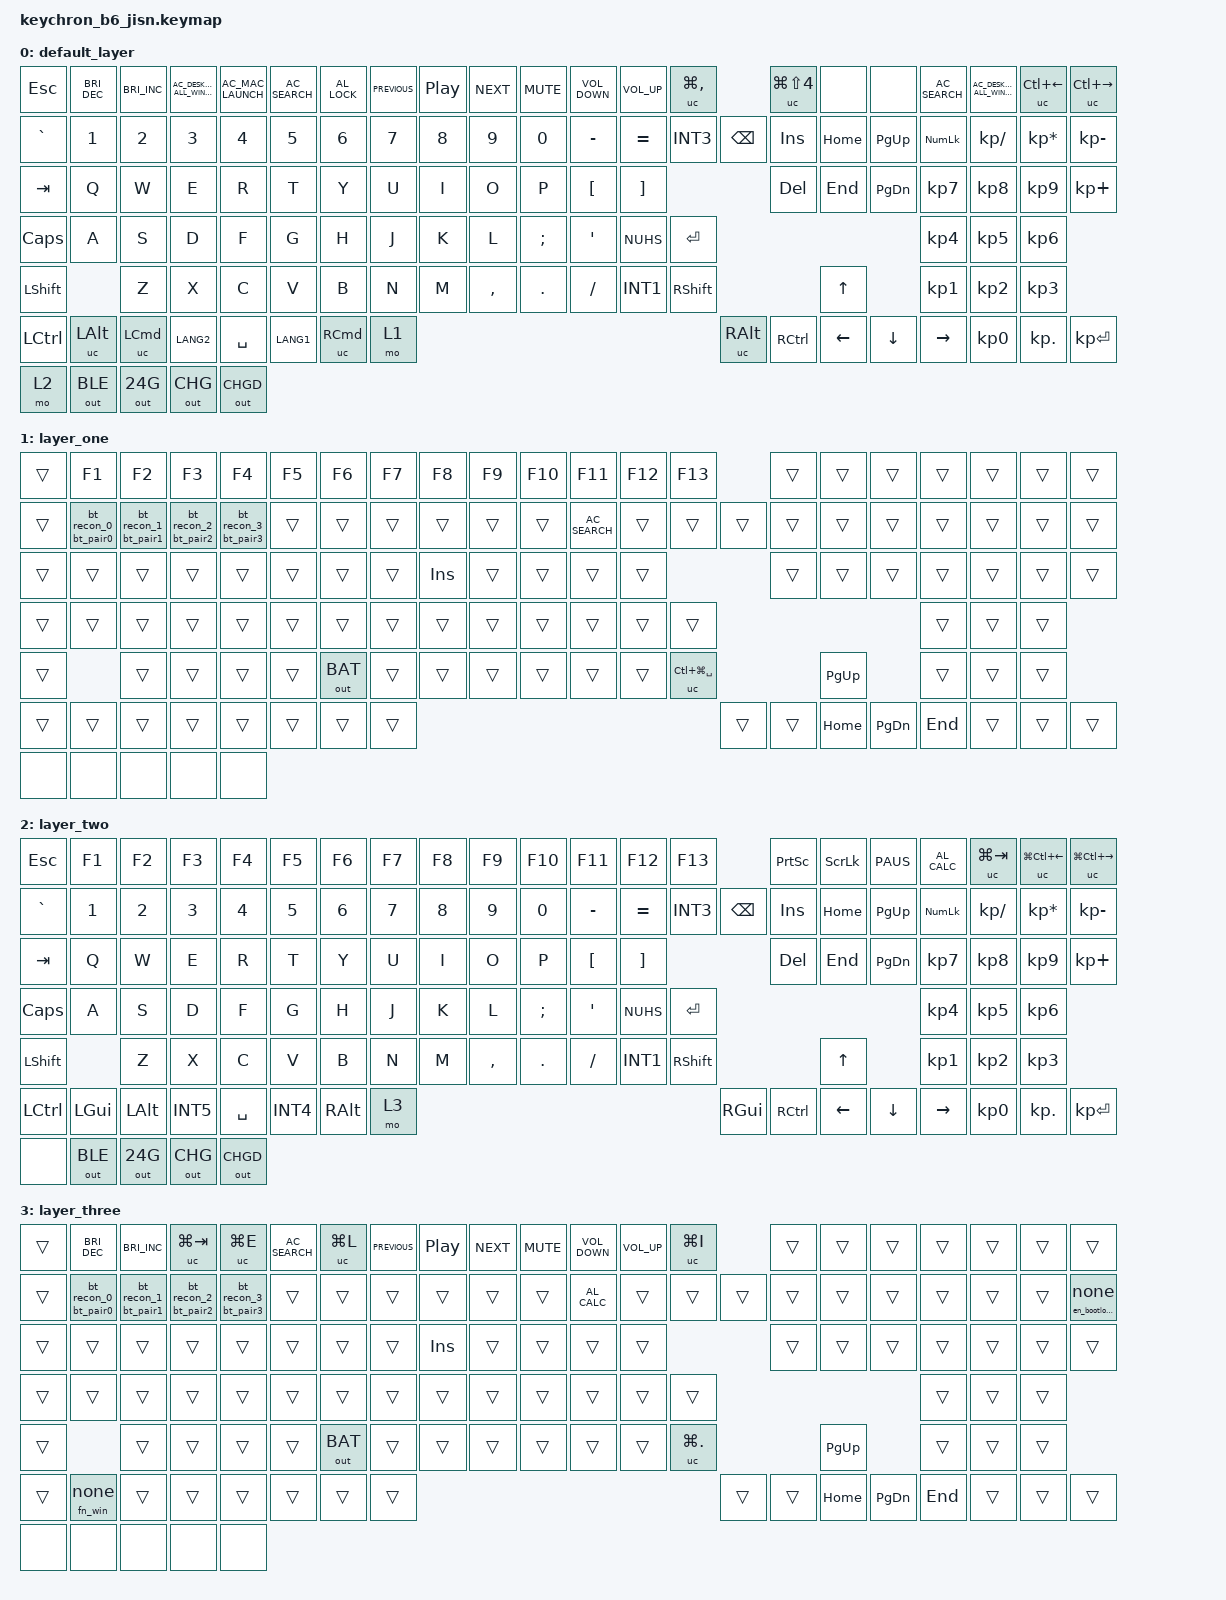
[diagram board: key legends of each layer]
/*
 * Copyright (c) 2023 The ZMK Contributors
 *
 * SPDX-License-Identifier: MIT
 */

#include <behaviors.dtsi>
#include <dt-bindings/zmk/keys.h>
#include <dt-bindings/zmk/rgb.h>
#include <dt-bindings/zmk/bt.h>
#include <dt-bindings/zmk/outputs.h>
// &main_encoder {
//     status = "okay";
// };

/ {
    ZMK_MACRO(recover, bindings = <&out OUT_RECOVER>;)
    ZMK_MACRO(change, bindings = <&out OUT_FN>;)
    ZMK_MACRO(fn_win, bindings = <&out OUT_FN_WIN>;)

    ZMK_MACRO(en_bootloader, bindings = <&bootloader>;)
    ZMK_MACRO1(MA,bindings=<&kp 0x770000>;)

    long_press_recover:l1 {
        compatible = "zmk,behavior-hold-tap";
        label = "l1";
        #binding-cells = <2>;
        flavor = "tap-preferred";
        tapping-term-ms = <3000>;  // delay amount in ms
        bindings = <&recover>, <&none>;
    };

    long_press_change:l2{
        compatible = "zmk,behavior-hold-tap";
        label = "lp_change";
        #binding-cells = <2>;
        flavor = "tap-preferred";
        tapping-term-ms = <3000>;  // delay amount in ms
        bindings = <&change>, <&none>;
    };
    long_press_bootloader:l3{
        compatible = "zmk,behavior-hold-tap";
        label = "lp_bootloader";
        #binding-cells = <2>;
        flavor = "tap-preferred";
        tapping-term-ms = <3000>;  // delay amount in ms
        bindings = <&en_bootloader>, <&none>;
    };
    long_press_fn_win:l4{
        compatible = "zmk,behavior-hold-tap";
        label = "lp_fn_win";
        #binding-cells = <2>;
        flavor = "tap-preferred";
        tapping-term-ms = <3000>;   
        bindings = <&fn_win>, <&none>;
    };
   
    //fn = 95+7 -1
    //j  = 63+8 -1
    //z  = 79+2 -1
    //x  = 79+3 -1
    //l  = 63+10 -1
    combos1 {
        compatible = "zmk,combos";
        combo_jz {
            timeout-ms = <1000>;
            layers = <1 3>;
            key-positions = <70 81>; //fn+j+z
            bindings = <&long_press_recover 0 0>;
        };
        combo_xl {
            timeout-ms = <1000>;
            layers =< 1 3>;
            key-positions = <82 72>; //fn+x+l
            bindings = <&long_press_change 0 0>;
        };
/*        
        combo_b {
            timeout-ms = <1000>;
            layers =< 1 3>;
            //slow-release = <true>;
            key-positions = <85>; //fn+b
            bindings = <&out OUT_BAT>;
        };

        combo_win_l {
            timeout-ms = <1000>;
            layers =< 1 3>;
            //slow-release = <true>;
            key-positions = <98>; //fn+win
            bindings = <&long_press_fn_win 0 0>;
        };
        combo_win_r {
            timeout-ms = <1000>;
            layers =< 1 3>;
            //slow-release = <true>;
            key-positions = <106>; //fn+win
            bindings = <&long_press_fn_win 0 0>;
        };
*/        
        combo_t0 {
            timeout-ms = <10 >;
            layers =<4>;
          
            key-positions = <80 90>;  
            bindings = <&to 3 >;
        };
        combo_t1 {
            timeout-ms = <10 >;
            layers =<4>;
          
            key-positions = <80 91>;  
            bindings = <&tog 3 >;
        };
        combo_t2 {
            timeout-ms = <10 >;
            layers =<4>;
          
            key-positions = <80 92>;  
            bindings = <&sl 3 >;
        };
        combo_t3 {
            timeout-ms = <10 >;
            layers =<4>;
          
            key-positions = <70 93>;  
            bindings = <&lt 3 SPACE>;
        };
        combo_t4 {
            timeout-ms = <10 >;
            layers =<4>;
          
            key-positions = <81 94>;  
            bindings = <&sk LSHIFT>;
        };
        combo_t5 {
            timeout-ms = <10 >;
            layers =<4>;
          
            key-positions = <81 93>;  
            bindings = <&mt LSHIFT SPACE>;
        };
        combo_t6 {
            timeout-ms = <10 >;
            layers =<4>;
          
            key-positions = <81 93>;  
            bindings = <&gresc>;
        };
    };

    td0 {
        compatible = "zmk,behavior-tap-dance";
        label = "TAPD_LAYER";
        #binding-cells = <1>;
        tapping-term-ms = <350>;
        bindings =<&mo 0>,<&mo 0>,<&mo 0>,<&mo 0>,<&to 0>;
    };
    ZMK_MACRO(bt_pair0, bindings = <&bt BT_PAIR 0>;)
    ZMK_MACRO(bt_pair1, bindings = <&bt BT_PAIR 1>;)
    ZMK_MACRO(bt_pair2, bindings = <&bt BT_PAIR 2>;)
    ZMK_MACRO(bt_pair3, bindings = <&bt BT_PAIR 3>;)
    ZMK_MACRO(bt_recon_0, bindings = <&bt BT_SEL 0>;)
    ZMK_MACRO(bt_recon_1, bindings = <&bt BT_SEL 1>;)
    ZMK_MACRO(bt_recon_2, bindings = <&bt BT_SEL 2>;)
    ZMK_MACRO(bt_recon_3, bindings = <&bt BT_SEL 3>;)
    

    // hold-tap that doesn't do anything on tap and BT_CLR on hold
    bt_pair_0: bt_pair_0 {
        compatible = "zmk,behavior-hold-tap";
        label = "bt_pair0";
        #binding-cells = <2>;
        flavor = "tap-preferred";
        tapping-term-ms = <3000>;  // delay amount in ms
        bindings = <&bt_pair0>, <&bt_recon_0>;
    };
    bt_pair_1: bt_pair_1 {
        compatible = "zmk,behavior-hold-tap";
        label = "bt_pair1";
        #binding-cells = <2>;
        flavor = "tap-preferred";
        tapping-term-ms = <3000>;  // delay amount in ms
        bindings = <&bt_pair1>, <&bt_recon_1>;
    };
    bt_pair_2: bt_pair_2 {
        compatible = "zmk,behavior-hold-tap";
        label = "bt_pair2";
        #binding-cells = <2>;
        flavor = "tap-preferred";
        tapping-term-ms = <3000>;  // delay amount in ms
        bindings = <&bt_pair2>, <&bt_recon_2>;
    };
    bt_pair_3: bt_pair_3 {
        compatible = "zmk,behavior-hold-tap";
        label = "bt_pair3";
        #binding-cells = <2>;
        flavor = "tap-preferred";
        tapping-term-ms = <3000>;  // delay amount in ms
        bindings = <&bt_pair3>, <&bt_recon_3>;
    };
    uc:user_custom {
        compatible = "zmk,behavior-key-press";
        label ="user_custom";
        #binding-cells =<1>;
    };
	keymap {
    	compatible = "zmk,keymap";
            //mac
        default_layer {
        bindings = <
                        //f1                    //f2                //f3                                    //f4                //f5                //f6            //f7            //f8            //f9        //f10       //f11               //f12               //f13                                                                   //f14                   //f15                            //f16               //f17
    &kp ESC     &kp C_BRIGHTNESS_DEC    &kp C_BRIGHTNESS_INC    &kp C_AC_DESKTOP_SHOW_ALL_WINDOWS   &kp  C_AC_MAC_LAUNCH    &kp C_AC_SEARCH     &kp C_AL_LOCK   &kp C_PREVIOUS  &kp C_PLAY_PAUSE    &kp C_NEXT  &kp C_MUTE  &kp C_VOLUME_DOWN   &kp C_VOLUME_UP     &uc LG(COMMA)               &uc LG(LS(N4))      &none       &none       &kp C_AC_SEARCH     &kp C_AC_DESKTOP_SHOW_ALL_WINDOWS       &uc LC(LEFT)        &uc LC(RIGHT) 
    &kp GRAVE   &kp N1                  &kp N2                  &kp N3                              &kp N4                  &kp N5              &kp N6          &kp N7          &kp N8              &kp N9      &kp N0      &kp MINUS           &kp EQUAL           &kp INT3       &kp BSPC     &kp INS             &kp HOME    &kp PG_UP   &kp KP_NLCK         &kp KP_SLASH                            &kp KP_ASTERISK     &kp KP_MINUS            
    &kp TAB     &kp Q                   &kp W                   &kp E                               &kp R                   &kp T               &kp Y           &kp U           &kp I               &kp O       &kp P       &kp LBKT            &kp RBKT                                        &kp DEL             &kp END     &kp PG_DN   &kp KP_N7           &kp KP_N8                               &kp KP_N9           &kp KP_PLUS   
    &kp CLCK    &kp A                   &kp S                   &kp D                               &kp F                   &kp G               &kp H           &kp J           &kp K               &kp L       &kp SEMI    &kp SQT             &kp NUHS            &kp RET                                                                 &kp KP_N4           &kp KP_N5                               &kp KP_N6
    &kp LSHFT                           &kp Z                   &kp X                               &kp C                   &kp V               &kp B           &kp N           &kp M               &kp COMMA   &kp DOT     &kp FSLH            &kp INT1            &kp RSHFT                                       &kp UP                  &kp KP_N1           &kp KP_N2                               &kp KP_N3
    &kp LCTRL   &uc LALT                &uc LCMD                &kp LANG2       &kp SPACE                                                                                       &kp LANG1                       &uc RCMD    &mo 1               &uc RALT            &kp RCTRL                   &kp LEFT            &kp DOWN    &kp RIGHT   &kp KP_N0                                                   &kp KP_DOT          &kp KP_ENTER
    //
    &mo 2       &out OUT_BLE    &out OUT_24G    &out OUT_CHG    &out OUT_CHGD 
            >;
    };
        //mac
        layer_one  {
        bindings = < 
    &trans  &kp F1          &kp F2          &kp F3          &kp F4          &kp F5          &kp F6          &kp F7          &kp F8          &kp F9          &kp F10             &kp F11             &kp F12             &kp F13                 &trans          &trans              &trans          &trans          &trans          &trans          &trans 
    &trans  &bt_pair_0 0 0  &bt_pair_1 0 0  &bt_pair_2 0 0  &bt_pair_3 0 0  &trans          &trans          &trans          &trans          &trans          &trans              &kp C_AC_SEARCH     &trans              &trans    &trans        &trans          &trans              &trans          &trans          &trans          &trans          &trans            
    &trans  &trans          &trans          &trans          &trans          &trans          &trans          &trans          &kp INS         &trans          &trans              &trans              &trans                                      &trans          &trans              &trans          &trans          &trans          &trans          &trans   
    &trans  &trans          &trans          &trans          &trans          &trans          &trans          &trans          &trans          &trans          &trans              &trans              &trans              &trans                                                                      &trans          &trans          &trans
    &trans                  &trans          &trans          &trans          &trans          &out OUT_BAT    &trans          &trans          &trans          &trans              &trans              &trans              &uc LC(LG(SPACE))                       &kp PG_UP                           &trans          &trans          &trans
    &trans  &trans          &trans          &trans                  &trans                                                  &trans          &trans                              &trans              &trans              &trans                  &kp HOME        &kp PG_DN           &kp END         &trans                          &trans          &trans
    //
    &none   &none  &none    &none   &none
            >;
    };
    //win
    	layer_two {
 		bindings = <
    &kp ESC 	&kp F1     &kp F2 	    &kp F3 	    &kp F4 	&kp F5 	&kp F6 	&kp F7 	&kp F8 	   &kp F9 	    &kp F10 	&kp F11 	&kp F12 	&kp F13                   &kp PSCRN    &kp SLCK    &kp PAUS      &kp C_AL_CALC   &uc LG(TAB)     &uc LG(LC(LEFT))     &uc LG(LC(RIGHT))  //21
    &kp GRAVE	&kp N1     &kp N2 	    &kp N3 	    &kp N4 	&kp N5 	&kp N6 	&kp N7 	&kp N8 	   &kp N9 	    &kp N0 		&kp MINUS 	&kp EQUAL 	&kp INT3    &kp BSPC 	  &kp INS 	   &kp HOME    &kp PG_UP 	 &kp KP_NLCK 	 &kp KP_SLASH 	 &kp KP_ASTERISK      &kp KP_MINUS       //42       
    &kp TAB 	&kp Q      &kp W 	    &kp E 	    &kp R 	&kp T 	&kp Y 	&kp U 	&kp I 	   &kp O 	    &kp P 		&kp LBKT 	&kp RBKT 	         	              &kp DEL 	   &kp END 	   &kp PG_DN 	 &kp KP_N7 		 &kp KP_N8 		 &kp KP_N9            &kp KP_PLUS        //63
    &kp CLCK 	&kp A 	   &kp S 	    &kp D 	    &kp F 	&kp G 	&kp H 	&kp J 	&kp K 	   &kp L 	    &kp SEMI 	&kp SQT     &kp NUHS    &kp RET               							                 &kp KP_N4 		 &kp KP_N5 		 &kp KP_N6                               //63+21-5
    &kp LSHFT              &kp Z 	    &kp X 	    &kp C 	&kp V 	&kp B 	&kp N 	&kp M 	   &kp COMMA    &kp DOT     &kp FSLH    &kp INT1    &kp RSHFT				               &kp UP 					 &kp KP_N1 		 &kp KP_N2 		 &kp KP_N3                               //79+21-5
    &kp LCTRL 	&kp LGUI   &kp LALT     &kp INT5         &kp SPACE                  &kp INT4                &kp RALT 	&mo 3       &kp RGUI 	&kp RCTRL 	              &kp LEFT 	   &kp DOWN 	&kp RIGHT 	 &kp KP_N0 						 &kp KP_DOT  	      &kp KP_ENTER
    //
    &none       &out OUT_BLE    &out OUT_24G    &out OUT_CHG    &out OUT_CHGD 
            >;
    };
    //win
        layer_three {
        bindings = < 
                    //f1                    //f2                //f3            //f4            //f5            //f6                //f7            //f8            //f9        //f10       //f11                   //f12                 //f13                                                      //f14           //f15           //f16           //f17
    &trans  &kp C_BRIGHTNESS_DEC    &kp C_BRIGHTNESS_INC    &uc LG(TAB)     &uc LG(E)       &kp C_AC_SEARCH     &uc LG(L)       &kp C_PREVIOUS  &kp C_PLAY_PAUSE    &kp C_NEXT  &kp C_MUTE  &kp C_VOLUME_DOWN       &kp C_VOLUME_UP     &uc LG(I)               &trans       &trans      &trans      &trans          &trans          &trans          &trans
    &trans  &bt_pair_0 0 0          &bt_pair_1 0 0          &bt_pair_2 0 0  &bt_pair_3 0 0  &trans              &trans          &trans          &trans              &trans      &trans      &kp C_AL_CALC           &trans              &trans       &trans     &trans       &trans      &trans      &trans          &trans          &trans          &long_press_bootloader 0 0          
    &trans  &trans                  &trans                  &trans          &trans          &trans              &trans          &trans          &kp INS             &trans      &trans      &trans                  &trans                                      &trans       &trans      &trans      &trans          &trans          &trans          &trans   
    &trans  &trans                  &trans                  &trans          &trans          &trans              &trans          &trans          &trans              &trans      &trans      &trans                  &trans              &trans                                                       &trans          &trans          &trans
    &trans                          &trans                  &trans          &trans          &trans              &out OUT_BAT    &trans          &trans              &trans      &trans      &trans                  &trans              &uc LG(DOT)                          &kp PG_UP               &trans          &trans          &trans
    &trans  &long_press_fn_win 0 0  &trans                  &trans              &trans                                                      &trans                          &trans      &trans                      &trans               &trans                 &kp HOME     &kp PG_DN   &kp END     &trans                          &trans          &trans
    //
    &none   &none  &none    &none   &none
            >;
    };
   

    	
    
	};
};

	
